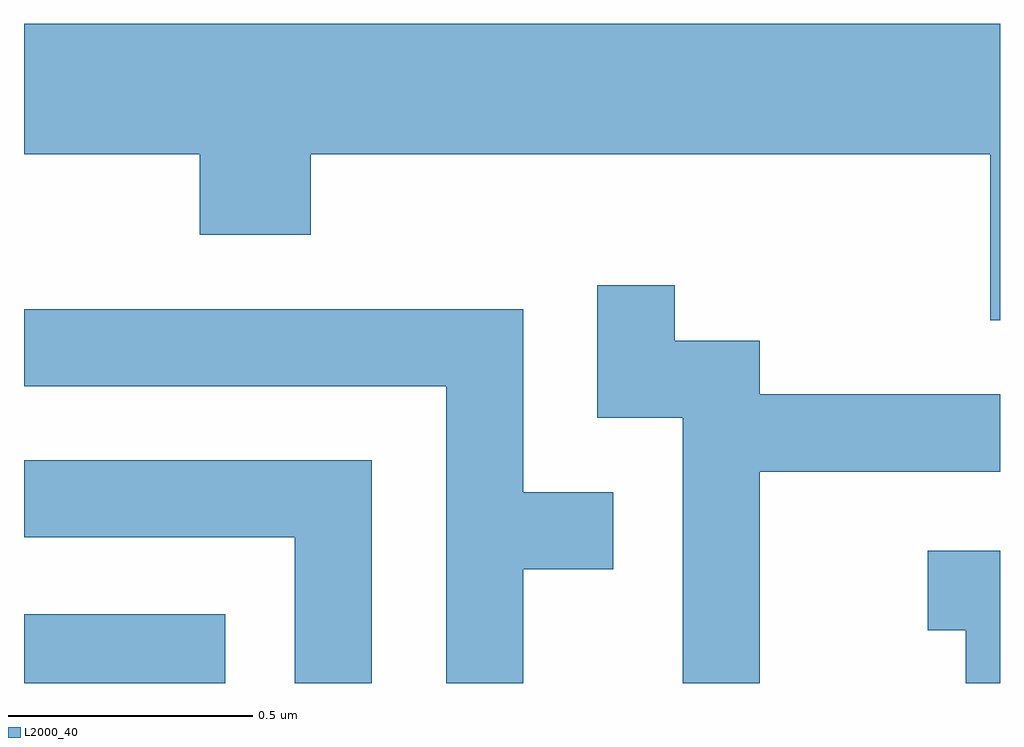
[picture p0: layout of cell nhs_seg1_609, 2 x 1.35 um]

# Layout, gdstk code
import gdstk
lib = gdstk.Library(unit=1e-6, precision=1e-09)
def R(c, l, rs):  # rectangles x0, y0, x1, y1
    for r in rs: c.add(gdstk.rectangle(r[:2], r[2:], *l))
def P(c, l, *ps):  # polygons
    for p in ps: c.add(gdstk.Polygon(p, *l))
L2000_40 = (2000, 40)

nhs_seg1_609 = lib.new_cell('nhs_seg1_609')
R(nhs_seg1_609, L2000_40, [(189.611,900.712,190.023,900.854)])
P(nhs_seg1_609, L2000_40, [(191.611,902.064),(189.611,902.064),(189.611,901.796),(189.971,901.796),(189.971,901.631),(190.199,901.631),(190.199,901.796),(191.591,901.796),(191.591,901.456),(191.611,901.456)],
  [(191.119,901.146),(191.611,901.146),(191.611,901.304),(191.119,901.304),(191.119,901.414),(190.944,901.414),(190.944,901.528),(190.786,901.528),(190.786,901.256),(190.961,901.256),(190.961,900.712),(191.119,900.712)],
  [(190.634,900.946),(190.818,900.946),(190.818,901.104),(190.634,901.104),(190.634,901.479),(189.611,901.479),(189.611,901.321),(190.476,901.321),(190.476,900.712),(190.634,900.712)],
  [(190.324,901.169),(189.611,901.169),(189.611,901.011),(190.166,901.011),(190.166,900.712),(190.324,900.712)],
  [(191.611,900.984),(191.463,900.984),(191.463,900.821),(191.541,900.821),(191.541,900.712),(191.611,900.712)])

lib.write_gds('nhs_seg1_609.gds')
